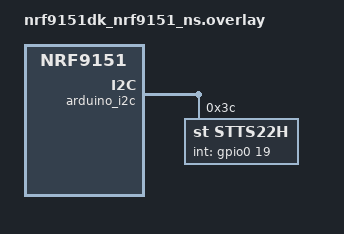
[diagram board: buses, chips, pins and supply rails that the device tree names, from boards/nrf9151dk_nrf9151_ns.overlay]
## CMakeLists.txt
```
cmake_minimum_required(VERSION 3.20.0)
find_package(Zephyr REQUIRED HINTS $ENV{ZEPHYR_BASE})

project(zephyr_stts22h)

target_sources(app PRIVATE src/main.c)
```

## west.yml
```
manifest:
  remotes:
    - name: ncs
      url-base: https://github.com/nrfconnect

  projects:
    - name: nrf
      repo-path: sdk-nrf
      remote: ncs
      revision: v3.2.2
      import: true

  self:
    path: zephyr-stts22h
```

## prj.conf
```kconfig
CONFIG_LOG=y

CONFIG_I2C=y
CONFIG_STTS22H=y
CONFIG_STTS22H_TRIGGER_GLOBAL_THREAD=y
CONFIG_SENSOR=y

CONFIG_NEWLIB_LIBC=y
CONFIG_CBPRINTF_FP_SUPPORT=y
```

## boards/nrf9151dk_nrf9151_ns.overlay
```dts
#include <zephyr/dt-bindings/sensor/stts22h.h>

&arduino_i2c {
  status = "okay";

  stts22h: stts22h@3c {
    compatible = "st,stts22h";
    reg = <0x3c>;
    sampling-rate = <STTS22H_1Hz>;
    int-gpios = <&gpio0 19 GPIO_ACTIVE_HIGH>;
  };

};
```

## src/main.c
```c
#include <zephyr/kernel.h>
#include <zephyr/device.h>
#include <zephyr/logging/log.h>
#include <zephyr/drivers/sensor.h>

LOG_MODULE_REGISTER(zephyr_stts22h, LOG_LEVEL_DBG);

static const struct device *const dev = DEVICE_DT_GET(DT_NODELABEL(stts22h));

static void threshold_handler(const struct device *dev,
                              const struct sensor_trigger *trig)
{
  int ret;
  struct sensor_value temperature;

  ret = sensor_sample_fetch(dev);
  if (ret < 0) {
    LOG_ERR("sensor_sample_fetch() failed: %d", ret);
    return;
  }

  ret = sensor_channel_get(dev, SENSOR_CHAN_AMBIENT_TEMP, &temperature);
  if (ret < 0) {
    LOG_ERR("sensor_channel_get() failed: %d", ret);
    return;
  }

  LOG_WRN("Threshold crossed! temperature: %.2f °C",
          sensor_value_to_double(&temperature));
}

int main(void)
{
  int ret;

  if (!device_is_ready(dev)) {
    LOG_ERR("stts22h not ready");
    return -ENODEV;
  }

  struct sensor_value upper_thres = {.val1 = 28, .val2 = 0};
  ret = sensor_attr_set(dev, SENSOR_CHAN_AMBIENT_TEMP, SENSOR_ATTR_UPPER_THRESH,
                        &upper_thres);
  if (ret < 0) {
    LOG_ERR("Failed to set upper threshold: %d", ret);
    return ret;
  }

  struct sensor_value lower_thres = {.val1 = 18, .val2 = 0};
  ret = sensor_attr_set(dev, SENSOR_CHAN_AMBIENT_TEMP, SENSOR_ATTR_LOWER_THRESH,
                        &lower_thres);
  if (ret < 0) {
    LOG_ERR("Failed to set lower threshold: %d", ret);
    return ret;
  }

  struct sensor_trigger trig = {
    .type = SENSOR_TRIG_THRESHOLD,
    .chan = SENSOR_CHAN_AMBIENT_TEMP,
  };
  ret = sensor_trigger_set(dev, &trig, threshold_handler);
  if (ret < 0) {
    LOG_ERR("Failed to set trigger: %d", ret);
    return ret;
  }

  k_sleep(K_FOREVER);
}
```
